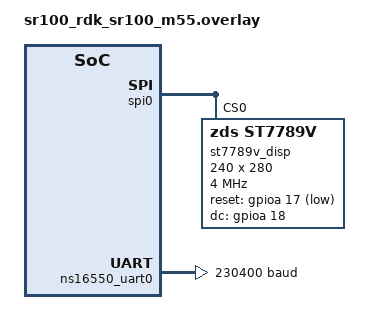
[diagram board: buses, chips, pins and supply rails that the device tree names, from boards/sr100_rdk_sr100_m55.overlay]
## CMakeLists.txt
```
# Copyright (c) 2026 Synaptics Incorporated
# SPDX-License-Identifier: Apache-2.0
#
# Lab C3: MIPI camera capture -> grayscale downscale -> ST7789V3 TFT preview.

cmake_minimum_required(VERSION 3.20.0)

# Custom "zds,st7789v" devicetree binding lives under this app's own
# dts/bindings/ - DTS_ROOT must be extended BEFORE find_package(Zephyr...)
# runs (same requirement as ai_labs/03_sensor_anomaly).
list(APPEND DTS_ROOT ${CMAKE_CURRENT_SOURCE_DIR})

find_package(Zephyr REQUIRED HINTS $ENV{ZEPHYR_BASE})
project(camera_tft_preview)

target_sources(app PRIVATE
  src/main.c
  src/tft_preview.c
)

# Pull in SR100 video HAL headers used by the video_syna_sr100_mipi driver's
# devicetree binding. ZEPHYR_BASE points at <workspace>/zephyr, so its parent
# is the workspace root regardless of where this lab folder itself lives.
target_include_directories(app PRIVATE
  $ENV{ZEPHYR_BASE}/../zephyr_srsdk/modules/hal_synaptics/video/sr100/includes
)
```

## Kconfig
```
# Copyright (c) 2026 Synaptics Incorporated
# SPDX-License-Identifier: Apache-2.0
#
# Lab C3: camera capture + TFT preview. WQVGA-only, like Lab C2 - the
# capture side is not the point of this lab, the display pipeline is.

mainmenu "Camera TFT Preview Lab (SR110)"

source "Kconfig.zephyr"

menu "Camera TFT Preview Lab"

config VIDEO_SAMPLE_FRAME_WIDTH
        int "Frame width (pixels)"
        default 480

config VIDEO_SAMPLE_FRAME_HEIGHT
        int "Frame height (pixels)"
        default 270

config VIDEO_SAMPLE_FRAME_PITCH
        int "Frame pitch (bytes/line)"
        default 480

config VIDEO_SAMPLE_BUFFER_COUNT
        int "Video buffer count"
        default 2
        range 1 8

config VIDEO_SAMPLE_CAPTURE_TIMEOUT_MS
        int "Capture timeout (ms)"
        default 2000

config TFT_PREVIEW_INTERVAL_MS
        int "Boot-time default delay between displayed preview frames (ms)"
        default 1000
        range 100 10000
        help
          The camera itself keeps streaming continuously in the
          background (video_stream_start() is called once); this is
          just how often the main loop pulls one frame out of that
          stream and pushes it to the TFT. This value is only the
          value used at boot - main.c stores it in a plain runtime
          variable that the "preview interval set <ms>" shell command
          can change afterwards without rebuilding/reflashing, so
          treat this Kconfig default as a starting point to tune from
          rather than something you need to rebuild for every test.
          1000-2000ms is a reasonable starting point: fast enough to
          feel "live", slow enough not to flood the slow SPI0 link or
          the serial console with one log line per frame.

endmenu
```

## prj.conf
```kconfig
# Camera (video_syna0 / MIPI CSI) - same as lab_c1_basic_capture / lab_c2_continuous_stats
CONFIG_LOG=y
CONFIG_LOG_DEFAULT_LEVEL=3
CONFIG_VIDEO=y
CONFIG_VIDEO_INIT_PRIORITY=90
CONFIG_VIDEO_SYNA_MIPI=y
CONFIG_VIDEO_SYNA_MIPI_INIT_PRIORITY=110
CONFIG_VIDEO_BUFFER_POOL_HEAP_SIZE=400000
CONFIG_VIDEO_BUFFER_POOL_ALIGN=64
CONFIG_I2C_SHELL=n

CONFIG_FPU=y

CONFIG_HEAP_MEM_POOL_SIZE=200000

CONFIG_CMSIS_RTOS_V2=y
CONFIG_POLL=y
CONFIG_THREAD_NAME=y
CONFIG_THREAD_STACK_INFO=y
CONFIG_THREAD_MONITOR=y
CONFIG_INIT_STACKS=y
CONFIG_NUM_PREEMPT_PRIORITIES=56

CONFIG_PRINTK=y
CONFIG_LOG_MODE_IMMEDIATE=y

# TFT (ST7789V3 raw-SPI driver, ai_labs/03_sensor_anomaly) - SPI0 + GPIO
# for reset/dc pins. Console is moved to UART0 alt pins by the board
# overlay because SPI0 shares pads with UART1 (see the lab doc).
CONFIG_SPI=y
CONFIG_GPIO=y

CONFIG_MAIN_STACK_SIZE=4096
CONFIG_UART_CONSOLE=y

# Interactive shell so the preview interval can be tuned live at
# runtime ("preview interval set <ms>") instead of rebuilding/
# reflashing for every test - see main.c and the lab doc.
#
# CONFIG_SHELL=y alone overflows the 128KB ITCM flash (this board's
# zephyr,flash) by ~9KB - the default shell pulls in history, stats,
# wildcards, metakeys and a log backend integration that this lab does
# not need. CONFIG_SHELL_MINIMAL=y strips all of that down to just the
# line editor + command dispatch, which is enough for the two "preview
# interval get/set" commands here and fits comfortably.
CONFIG_SHELL=y
CONFIG_SHELL_MINIMAL=y
CONFIG_SHELL_LOG_BACKEND=n
```

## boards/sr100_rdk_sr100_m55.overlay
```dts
/*
 * Lab C3 (Camera TFT Preview) - SR110 (sr100_rdk/sr100/m55)
 *
 * - Camera: video_syna0 (MIPI CSI) + ov02c10 on i2c1 are both
 *   "okay" by default in the board's base devicetree - no overlay
 *   entry needed here, same as Lab C1/C2.
 *
 * - Status/preview display: ST7789V3 TFT over SPI0, reusing
 *   ai_labs/03_sensor_anomaly's confirmed-working config verbatim
 *   (level-shifted signals, native HW CS, GPIO17/18 reset/dc, 4MHz).
 *   SPI0's MOSI/MISO pads are physically shared with the M55's
 *   default console UART (UART1, GPIO23/24), so the console is moved
 *   to UART0's alternate pin group here. An external USB-TTL adapter
 *   is needed to see console output (GPIO44/45, J24 pins 13/14) - see
 *   the lab doc for the full explanation, it is not repeated here.
 */

#include <zephyr/dt-bindings/gpio/gpio.h>

&spi0 {
	#address-cells = <1>;
	#size-cells = <0>;
	status = "okay";
	pinctrl-0 = <&spi_mstr_mosi &spi_mstr_miso &spi_mstr_clk &spi_mstr_cs>;
	pinctrl-names = "default";

	st7789v_disp: st7789v@0 {
		compatible = "zds,st7789v";
		reg = <0>;
		spi-max-frequency = <4000000>;
		reset-gpios = <&gpioa 17 GPIO_ACTIVE_LOW>;  /* SoC GPIO17, J24 pin 3 - through level shifter */
		dc-gpios = <&gpioa 18 GPIO_ACTIVE_HIGH>;    /* SoC GPIO18, J24 pin 4 - through level shifter */
		width = <240>;
		height = <280>;
		x-offset = <0>;
		y-offset = <20>;
	};
};

&ns16550_uart1 {
	status = "disabled";
};

&ns16550_uart0 {
	pinctrl-0 = <&uart0_tx_c &uart0_rx_c>;
	pinctrl-names = "default";
	current-speed = <230400>;
	dlf = <2>;
	status = "okay";
};

/ {
	chosen {
		zephyr,console = &ns16550_uart0;
		zephyr,shell-uart = &ns16550_uart0;
	};
};
```

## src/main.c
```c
/*
 * Copyright (c) 2026 Synaptics Incorporated
 *
 * SPDX-License-Identifier: Apache-2.0
 *
 * SR110 AI curriculum Lab C3 - Camera capture + TFT preview.
 *
 * Builds on lab_c1_basic_capture / lab_c2_continuous_stats's video_api
 * capture loop (same devicetree node, same WQVGA RAW8 format). Instead
 * of logging stats, each captured frame is downscaled to grayscale and
 * pushed to the ST7789V3 TFT (SPI0) via tft_preview_show_frame() - see
 * that file for how the downscale + grayscale conversion works.
 *
 * The camera stream is started once and left running; the main loop
 * only pulls one frame out of it every g_preview_interval_ms to
 * display, so the panel updates a few times per second at most instead
 * of at the camera's native ~30fps (SPI0 is far too slow for that
 * anyway, and a very short interval also floods the serial console
 * with one log line per frame). The interval is a plain runtime
 * variable (not a compile-time constant) so it can be changed on the
 * fly from the shell (see cmd_preview_interval_set() below) without
 * rebuilding/reflashing - handy for finding a comfortable refresh rate
 * by trial and error.
 */

#include <errno.h>
#include <stdint.h>
#include <stdlib.h>

#include <zephyr/device.h>
#include <zephyr/devicetree.h>
#include <zephyr/drivers/video.h>
#include <zephyr/kernel.h>
#include <zephyr/logging/log.h>
#include <zephyr/shell/shell.h>
#include <zephyr/sys/atomic.h>
#include <zephyr/sys/util.h>
#include <zephyr/video/video.h>

#include "tft_preview.h"

LOG_MODULE_REGISTER(camera_tft_preview, CONFIG_LOG_DEFAULT_LEVEL);

#define VIDEO_SAMPLE_FRAME_WIDTH      ((uint32_t)CONFIG_VIDEO_SAMPLE_FRAME_WIDTH)
#define VIDEO_SAMPLE_FRAME_HEIGHT     ((uint32_t)CONFIG_VIDEO_SAMPLE_FRAME_HEIGHT)
#define VIDEO_SAMPLE_FRAME_PITCH      ((uint32_t)CONFIG_VIDEO_SAMPLE_FRAME_PITCH)
#define VIDEO_SAMPLE_BUFFER_COUNT     ((uint32_t)CONFIG_VIDEO_SAMPLE_BUFFER_COUNT)
#define VIDEO_SAMPLE_CAPTURE_TIMEOUT  K_MSEC(CONFIG_VIDEO_SAMPLE_CAPTURE_TIMEOUT_MS)

#define PREVIEW_INTERVAL_MIN_MS 100
#define PREVIEW_INTERVAL_MAX_MS 10000

#define VIDEO_SAMPLE_PIXEL_FORMAT     VIDEO_PIX_FMT_SRGGB8

#define VIDEO_DEV_NODE DT_NODELABEL(video_syna0)

#if !DT_NODE_EXISTS(VIDEO_DEV_NODE)
#error "Devicetree node 'video_syna0' is required for this sample"
#endif

/* Boot default comes from Kconfig; from then on this is the only
 * source of truth, changed live by the "preview interval set <ms>"
 * shell command. atomic_t (not a plain uint32_t) because it is
 * written from the shell thread and read from the main loop thread.
 */
static atomic_t g_preview_interval_ms = ATOMIC_INIT(CONFIG_TFT_PREVIEW_INTERVAL_MS);

static int cmd_preview_interval_set(const struct shell *sh, size_t argc, char **argv)
{
	char *endptr;
	long val = strtol(argv[1], &endptr, 10);

	if (*endptr != '\0' || val < PREVIEW_INTERVAL_MIN_MS || val > PREVIEW_INTERVAL_MAX_MS) {
		shell_error(sh, "interval must be an integer between %d and %d ms",
			    PREVIEW_INTERVAL_MIN_MS, PREVIEW_INTERVAL_MAX_MS);
		return -EINVAL;
	}

	atomic_set(&g_preview_interval_ms, (atomic_val_t)val);
	shell_print(sh, "preview interval set to %ld ms (takes effect on the next frame)", val);
	return 0;
}

static int cmd_preview_interval_get(const struct shell *sh, size_t argc, char **argv)
{
	shell_print(sh, "preview interval: %ld ms", (long)atomic_get(&g_preview_interval_ms));
	return 0;
}

SHELL_STATIC_SUBCMD_SET_CREATE(sub_preview_interval,
	SHELL_CMD(get, NULL, "Show the current preview interval", cmd_preview_interval_get),
	SHELL_CMD_ARG(set, NULL, "Set the preview interval in ms: preview interval set <ms>",
		      cmd_preview_interval_set, 2, 0),
	SHELL_SUBCMD_SET_END
);

SHELL_STATIC_SUBCMD_SET_CREATE(sub_preview,
	SHELL_CMD(interval, &sub_preview_interval,
		  "Get/set how often a captured frame is pushed to the TFT", NULL),
	SHELL_SUBCMD_SET_END
);

SHELL_CMD_REGISTER(preview, &sub_preview, "Camera TFT preview controls", NULL);

static int configure_video_format(const struct device *video_dev, struct video_format *fmt)
{
	int ret;

	*fmt = (struct video_format) {
		.type = VIDEO_BUF_TYPE_OUTPUT,
		.pixelformat = VIDEO_SAMPLE_PIXEL_FORMAT,
		.width = VIDEO_SAMPLE_FRAME_WIDTH,
		.height = VIDEO_SAMPLE_FRAME_HEIGHT,
		.pitch = VIDEO_SAMPLE_FRAME_PITCH,
	};

	ret = video_set_format(video_dev, fmt);
	if (ret < 0) {
		LOG_ERR("video_set_format failed: %d", ret);
		return ret;
	}

	return 0;
}

int main(void)
{
	const struct device *video_dev = DEVICE_DT_GET(VIDEO_DEV_NODE);
	struct video_caps caps = { .type = VIDEO_BUF_TYPE_OUTPUT };
	struct video_format fmt;
	struct video_buffer *queued_buffers[VIDEO_SAMPLE_BUFFER_COUNT] = { 0 };
	struct video_buffer *captured = NULL;
	int ret;
	int final_ret = 0;
	size_t driver_owned_buffer_count = 0U;
	bool video_started = false;
	uint32_t frame_idx = 0U;

	LOG_INF("=== SR110 Camera TFT Preview (interval=%ld ms, 'preview interval set <ms>' to change) ===",
		(long)atomic_get(&g_preview_interval_ms));

	tft_preview_init();

	if (!device_is_ready(video_dev)) {
		LOG_ERR("Video device %s is not ready", video_dev->name);
		return -ENODEV;
	}

	ret = video_get_caps(video_dev, &caps);
	if (ret < 0) {
		LOG_ERR("video_get_caps failed: %d", ret);
		return ret;
	}

	if (ARRAY_SIZE(queued_buffers) < caps.min_vbuf_count) {
		LOG_ERR("Sample provides %u buffers but driver requires %u",
			(uint32_t)ARRAY_SIZE(queued_buffers), caps.min_vbuf_count);
		return -ENOMEM;
	}

	ret = configure_video_format(video_dev, &fmt);
	if (ret < 0) {
		return ret;
	}

	size_t align = MAX(caps.buf_align, 1U);

	for (size_t i = 0; i < ARRAY_SIZE(queued_buffers); i++) {
		queued_buffers[i] = video_buffer_aligned_alloc(fmt.size, align, K_NO_WAIT);
		if (queued_buffers[i] == NULL) {
			LOG_ERR("Buffer alloc failed. Increase CONFIG_VIDEO_BUFFER_POOL_HEAP_SIZE");
			final_ret = -ENOMEM;
			goto out_cleanup;
		}

		queued_buffers[i]->type = VIDEO_BUF_TYPE_OUTPUT;
		queued_buffers[i]->bytesused = 0U;

		ret = video_enqueue(video_dev, queued_buffers[i]);
		if (ret < 0) {
			LOG_ERR("video_enqueue failed: %d", ret);
			final_ret = ret;
			goto out_cleanup;
		}

		driver_owned_buffer_count++;
	}

	ret = video_stream_start(video_dev, VIDEO_BUF_TYPE_OUTPUT);
	if (ret < 0) {
		LOG_ERR("video_stream_start failed: %d", ret);
		final_ret = ret;
		goto out_cleanup;
	}
	video_started = true;

	/* Runs forever: this lab is a live preview, meant to be watched on
	 * the panel rather than read off a log, so there is no fixed frame
	 * count like lab_c2_continuous_stats. Serial output is kept to one
	 * short line per cycle on purpose - a busy console at a fast
	 * interval was making both the log and the panel hard to follow.
	 */
	while (1) {
		ret = video_dequeue(video_dev, &captured, VIDEO_SAMPLE_CAPTURE_TIMEOUT);
		if (ret < 0) {
			LOG_ERR("Capture timed out or failed (frame %u): %d",
				(uint32_t)(frame_idx + 1U), ret);
			final_ret = ret;
			goto out_stop_video;
		}
		driver_owned_buffer_count--;
		frame_idx++;

		tft_preview_show_frame(captured->buffer, VIDEO_SAMPLE_FRAME_WIDTH,
					VIDEO_SAMPLE_FRAME_HEIGHT);

		LOG_INF("Frame %u: capture -> display", frame_idx);

		captured->bytesused = 0U;
		ret = video_enqueue(video_dev, captured);
		if (ret < 0) {
			LOG_ERR("video_enqueue failed after frame %u: %d", frame_idx, ret);
			final_ret = ret;
			goto out_stop_video;
		}
		driver_owned_buffer_count++;

		k_sleep(K_MSEC(atomic_get(&g_preview_interval_ms)));
	}

out_stop_video:
	if (video_started) {
		ret = video_stream_stop(video_dev, VIDEO_BUF_TYPE_OUTPUT);
		if (ret < 0) {
			LOG_WRN("video_stream_stop failed: %d", ret);
			if (final_ret == 0) {
				final_ret = ret;
			}
		}
	}

out_cleanup:
	if (driver_owned_buffer_count > 0U) {
		ret = video_flush(video_dev, true);
		if (ret < 0) {
			LOG_WRN("video_flush(cancel=true) failed during buffer reclaim: %d", ret);
		}
	}

	for (size_t i = 0; i < ARRAY_SIZE(queued_buffers); i++) {
		if (queued_buffers[i] != NULL) {
			video_buffer_release(queued_buffers[i]);
			queued_buffers[i] = NULL;
		}
	}

	LOG_INF("Camera TFT preview sample finished (ret=%d)", final_ret);
	return final_ret;
}
```

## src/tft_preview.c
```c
/*
 * Lab C3 (Camera TFT Preview) - raw-SPI ST7789V3 driver.
 *
 * The init sequence, SPI0 8-byte FIFO chunking (st7789_send()) and
 * addr-window setup below are taken verbatim from
 * ai_labs/03_sensor_anomaly's tft_status.c - see that file for the
 * extended commentary on why a raw driver is used instead of
 * Zephyr's in-tree "sitronix,st7789v" driver, and why SPI0 writes
 * must be chunked to 8 bytes. Only tft_preview_show_frame() is new:
 * instead of drawing text, it pushes a downscaled camera frame.
 */
#include <zephyr/kernel.h>
#include <zephyr/device.h>
#include <zephyr/devicetree.h>
#include <zephyr/drivers/spi.h>
#include <zephyr/drivers/gpio.h>
#include <zephyr/sys/printk.h>
#include <zephyr/sys/util.h>
#include <stdbool.h>

#include "tft_preview.h"

#define DISP_NODE DT_NODELABEL(st7789v_disp)

#define PANEL_WIDTH   DT_PROP(DISP_NODE, width)
#define PANEL_HEIGHT  DT_PROP(DISP_NODE, height)
#define X_OFFSET      DT_PROP(DISP_NODE, x_offset)
#define Y_OFFSET      DT_PROP(DISP_NODE, y_offset)

#define ST7789_SWRESET  0x01
#define ST7789_SLPOUT   0x11
#define ST7789_COLMOD   0x3A
#define ST7789_MADCTL   0x36
#define ST7789_INVON    0x21
#define ST7789_NORON    0x13
#define ST7789_DISPON   0x29
#define ST7789_CASET    0x2A
#define ST7789_RASET    0x2B
#define ST7789_RAMWR    0x2C
#define ST7789_PORCTRL  0xB2
#define ST7789_GCTRL    0xB7
#define ST7789_VCOMS    0xBB
#define ST7789_LCMCTRL  0xC0
#define ST7789_VDVVRHEN 0xC2
#define ST7789_VRHS     0xC3
#define ST7789_VDVS     0xC4
#define ST7789_FRCTRL2  0xC6
#define ST7789_PWCTRL1  0xD0
#define ST7789_PVGAMCTRL 0xE0
#define ST7789_NVGAMCTRL 0xE1

#define COLOR_BLACK   0x0000

#define ST7789_CHUNK_BYTES 8

static const struct spi_dt_spec spi_spec =
	SPI_DT_SPEC_GET(DISP_NODE, SPI_WORD_SET(8) | SPI_TRANSFER_MSB, 0);
static const struct gpio_dt_spec reset_spec = GPIO_DT_SPEC_GET(DISP_NODE, reset_gpios);
static const struct gpio_dt_spec dc_spec = GPIO_DT_SPEC_GET(DISP_NODE, dc_gpios);

static bool tft_ready;

static int st7789_send(int dc_value, const uint8_t *data, size_t len)
{
	int ret;

	gpio_pin_set_dt(&dc_spec, dc_value);

	while (len) {
		size_t chunk = MIN(len, ST7789_CHUNK_BYTES);
		struct spi_buf buf = { .buf = (void *)data, .len = chunk };
		struct spi_buf_set set = { .buffers = &buf, .count = 1 };

		ret = spi_write_dt(&spi_spec, &set);
		if (ret) {
			return ret;
		}
		data += chunk;
		len -= chunk;
	}
	return 0;
}

static int st7789_write_cmd(uint8_t cmd)
{
	return st7789_send(0, &cmd, 1);
}

static int st7789_write_data(const uint8_t *data, size_t len)
{
	return st7789_send(1, data, len);
}

static int st7789_reset(void)
{
	int ret = gpio_pin_configure_dt(&reset_spec, GPIO_OUTPUT_INACTIVE);

	if (ret) {
		return ret;
	}
	k_sleep(K_MSEC(10));
	gpio_pin_set_dt(&reset_spec, 1);
	k_sleep(K_MSEC(10));
	gpio_pin_set_dt(&reset_spec, 0);
	k_sleep(K_MSEC(150));
	return 0;
}

struct st7789_init_cmd {
	uint8_t cmd;
	uint8_t num_args;
	uint8_t args[16];
	uint16_t delay_ms;
};

static const struct st7789_init_cmd init_seq[] = {
	{ ST7789_SWRESET,   0, {0}, 150 },
	{ ST7789_SLPOUT,    0, {0}, 255 },
	{ ST7789_COLMOD,    1, {0x55}, 10 },
	{ ST7789_PORCTRL,   5, {0x0C, 0x0C, 0x00, 0x33, 0x33}, 0 },
	{ ST7789_GCTRL,     1, {0x35}, 0 },
	{ ST7789_VCOMS,     1, {0x28}, 0 },
	{ ST7789_LCMCTRL,   1, {0x0C}, 0 },
	{ ST7789_VDVVRHEN,  2, {0x01, 0xFF}, 0 },
	{ ST7789_VRHS,      1, {0x10}, 0 },
	{ ST7789_VDVS,      1, {0x20}, 0 },
	{ ST7789_FRCTRL2,   1, {0x0F}, 0 },
	{ ST7789_PWCTRL1,   2, {0xA4, 0xA1}, 0 },
	{ ST7789_MADCTL,    1, {0x08}, 0 },  /* 0x08 = BGR order (this panel; 0x00 is RGB) - see ai_labs/03_sensor_anomaly */
	{ ST7789_INVON,     0, {0}, 10 },
	{ ST7789_PVGAMCTRL, 14, {0xD0, 0x00, 0x02, 0x07, 0x0A, 0x28, 0x32, 0x44,
				 0x42, 0x06, 0x0E, 0x12, 0x14, 0x17}, 0 },
	{ ST7789_NVGAMCTRL, 14, {0xD0, 0x00, 0x02, 0x07, 0x05, 0x25, 0x2D, 0x44,
				 0x45, 0x10, 0x0E, 0x12, 0x13, 0x17}, 0 },
	{ ST7789_NORON,     0, {0}, 10 },
	{ ST7789_DISPON,    0, {0}, 100 },
};

static int st7789_init(void)
{
	for (size_t i = 0; i < ARRAY_SIZE(init_seq); i++) {
		int ret = st7789_write_cmd(init_seq[i].cmd);

		if (ret) return ret;
		if (init_seq[i].num_args) {
			ret = st7789_write_data(init_seq[i].args, init_seq[i].num_args);
			if (ret) return ret;
		}
		if (init_seq[i].delay_ms) {
			k_sleep(K_MSEC(init_seq[i].delay_ms));
		}
	}
	return 0;
}

static int st7789_set_addr_window(uint16_t x0, uint16_t y0, uint16_t x1, uint16_t y1)
{
	uint16_t xs = x0 + X_OFFSET, xe = x1 + X_OFFSET;
	uint16_t ys = y0 + Y_OFFSET, ye = y1 + Y_OFFSET;
	uint8_t caset[4] = { xs >> 8, xs & 0xFF, xe >> 8, xe & 0xFF };
	uint8_t raset[4] = { ys >> 8, ys & 0xFF, ye >> 8, ye & 0xFF };
	int ret;

	ret = st7789_write_cmd(ST7789_CASET);
	if (ret) return ret;
	ret = st7789_write_data(caset, sizeof(caset));
	if (ret) return ret;
	ret = st7789_write_cmd(ST7789_RASET);
	if (ret) return ret;
	ret = st7789_write_data(raset, sizeof(raset));
	if (ret) return ret;
	return st7789_write_cmd(ST7789_RAMWR);
}

static int st7789_fill_rect(uint16_t x, uint16_t y, uint16_t w, uint16_t h, uint16_t color)
{
	uint8_t row[PANEL_WIDTH * 2];
	int ret;

	ret = st7789_set_addr_window(x, y, x + w - 1, y + h - 1);
	if (ret) return ret;

	for (uint16_t i = 0; i < w; i++) {
		row[i * 2] = color >> 8;
		row[i * 2 + 1] = color & 0xFF;
	}
	for (uint16_t line = 0; line < h; line++) {
		ret = st7789_write_data(row, (size_t)w * 2);
		if (ret) return ret;
	}
	return 0;
}

void tft_preview_init(void)
{
	int ret;

	if (!spi_is_ready_dt(&spi_spec) || !gpio_is_ready_dt(&reset_spec) ||
	    !gpio_is_ready_dt(&dc_spec)) {
		printk("tft_preview: SPI/GPIO not ready, display disabled\n");
		return;
	}

	ret = gpio_pin_configure_dt(&dc_spec, GPIO_OUTPUT_INACTIVE);
	if (ret) {
		printk("tft_preview: dc-gpio configure failed: %d, display disabled\n", ret);
		return;
	}

	if (st7789_reset() || st7789_init()) {
		printk("tft_preview: reset/init failed (check wiring/level shifter), display disabled\n");
		return;
	}
	st7789_fill_rect(0, 0, PANEL_WIDTH, PANEL_HEIGHT, COLOR_BLACK);
	tft_ready = true;
}

/*
 * This lab's camera frame (480x270, landscape) and the TFT panel
 * (240x280, portrait) do not share an aspect ratio, so no crop-free
 * mapping can fill the whole panel. Three things happen in one pass
 * per output pixel:
 *
 *   1. Rotate 90 degrees: the sensor's long axis (480, its width) is
 *      matched up with the panel's long axis (280, its height)
 *      instead of its short axis (240) - this keeps far more of the
 *      original field of view than displaying unrotated ever could,
 *      since a landscape sensor naturally suits a landscape framing
 *      much better than a portrait one.
 *   2. "Cover" crop + nearest-neighbor scale: after the conceptual
 *      rotation, the image (270x480) still is not exactly 240x280,
 *      so it is scaled by the single factor that makes it *at least*
 *      as big as the panel in both directions, and the extra pixels
 *      on the now-oversized axis are cropped off both edges evenly
 *      (that scale/crop math lives in compute_cover_crop() below) -
 *      the same idea a phone camera app uses for "fill" photo crops,
 *      just done with integer nearest-neighbor instead of
 *      interpolation, which is more than good enough at this size.
 *   3. Debayer-lite: same 2x2 Bayer block average as before, sampled
 *      at the block the rotate+crop math points to, giving one
 *      grayscale value per output pixel.
 *
 * If your particular panel/camera pairing needs the image mirrored or
 * rotated the other way, that only changes the algebra in
 * rotate_to_bayer_coords() below - the crop math itself does not care
 * which way the rotation goes.
 */

/* Given a source rectangle (src_w x src_h) and a destination rectangle
 * (dst_w x dst_h) with a different aspect ratio, compute the single
 * uniform scale factor and centered crop window in the SOURCE that,
 * once scaled up to fill dst_w x dst_h, leaves no blank space (the
 * "cover" behavior familiar from CSS background-size:cover or a photo
 * app's "fill" crop). Returns the crop window's origin and size, still
 * in source pixels - the caller does the actual scaling by mapping
 * each destination pixel back into this window with plain division.
 */
static void compute_cover_crop(uint32_t src_w, uint32_t src_h, uint32_t dst_w, uint32_t dst_h,
				uint32_t *crop_x0, uint32_t *crop_y0,
				uint32_t *crop_w, uint32_t *crop_h)
{
	if (src_w * dst_h > src_h * dst_w) {
		/* Source is relatively wider than the destination: use the
		 * full source height and crop its width.
		 */
		*crop_h = src_h;
		*crop_w = src_h * dst_w / dst_h;
	} else {
		/* Source is relatively taller than the destination: use the
		 * full source width and crop its height.
		 */
		*crop_w = src_w;
		*crop_h = src_w * dst_h / dst_w;
	}
	*crop_x0 = (src_w - *crop_w) / 2U;
	*crop_y0 = (src_h - *crop_h) / 2U;
}

/* Maps a pixel in the rotated+cropped view back to the top-left corner
 * of a 2x2 Bayer block in the original, unrotated sensor frame. See
 * the big comment above tft_preview_show_frame() for the geometry.
 */
static void rotate_to_bayer_coords(uint32_t rot_col, uint32_t rot_row, uint32_t src_width,
				    uint32_t src_height, uint32_t *bayer_col,
				    uint32_t *bayer_row)
{
	/* Inverse of a 90 degree clockwise rotation: original row
	 * = (src_height-1) - rotated_col, original col = rotated_row.
	 * rot_col is always within [0, src_height) and rot_row within
	 * [0, src_width) by construction (they come from a crop window
	 * sized against the rotated canvas, see tft_preview_show_frame()),
	 * so both subtractions below stay non-negative.
	 */
	uint32_t row_s = (src_height - 1U) - rot_col;
	uint32_t col_s = rot_row;

	/* Round down to an even (row, col) so the 2x2 Bayer block we read
	 * from here always starts on the same R/G/G/B grid as the sensor,
	 * then clamp so the block's second row/column stays in bounds.
	 */
	row_s &= ~1U;
	col_s &= ~1U;
	if (row_s > src_height - 2U) {
		row_s = (src_height - 2U) & ~1U;
	}
	if (col_s > src_width - 2U) {
		col_s = (src_width - 2U) & ~1U;
	}

	*bayer_col = col_s;
	*bayer_row = row_s;
}

void tft_preview_show_frame(const uint8_t *bayer, uint16_t src_width, uint16_t src_height)
{
	/* The "rotated canvas" is what the sensor frame looks like after a
	 * 90 degree turn: its width is the sensor's height and vice versa.
	 */
	uint32_t rotated_w = src_height;
	uint32_t rotated_h = src_width;
	uint32_t crop_x0, crop_y0, crop_w, crop_h;
	uint8_t row[PANEL_WIDTH * 2];

	if (!tft_ready) {
		return;
	}

	compute_cover_crop(rotated_w, rotated_h, PANEL_WIDTH, PANEL_HEIGHT,
			    &crop_x0, &crop_y0, &crop_w, &crop_h);

	if (st7789_set_addr_window(0, 0, PANEL_WIDTH - 1, PANEL_HEIGHT - 1)) {
		return;
	}

	for (uint16_t oy = 0; oy < PANEL_HEIGHT; oy++) {
		uint32_t rot_row = crop_y0 + (uint32_t)oy * crop_h / PANEL_HEIGHT;

		for (uint16_t ox = 0; ox < PANEL_WIDTH; ox++) {
			uint32_t rot_col = crop_x0 + (uint32_t)ox * crop_w / PANEL_WIDTH;
			uint32_t bx, by;

			rotate_to_bayer_coords(rot_col, rot_row, src_width, src_height, &bx, &by);

			const uint8_t *row0 = bayer + (size_t)by * src_width + bx;
			const uint8_t *row1 = row0 + src_width;
			uint16_t sum = row0[0] + row0[1] + row1[0] + row1[1];
			uint8_t gray = (uint8_t)(sum / 4U);
			/* RGB565 with R=G=B gives a neutral gray pixel. */
			uint16_t gray5 = gray >> 3;
			uint16_t gray6 = gray >> 2;
			uint16_t pixel = (gray5 << 11) | (gray6 << 5) | gray5;

			row[ox * 2U] = pixel >> 8;
			row[ox * 2U + 1U] = pixel & 0xFF;
		}

		if (st7789_write_data(row, (size_t)PANEL_WIDTH * 2U)) {
			return;
		}
	}
}
```

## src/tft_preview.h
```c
/* Lab C3 TFT preview helper, built on the raw-SPI ST7789V3 driver
 * confirmed working in ai_labs/03_sensor_anomaly. Unlike that lab's
 * tft_status.c (which only draws text), this one pushes an actual
 * downscaled grayscale camera frame to the panel.
 */
#ifndef TFT_PREVIEW_H_
#define TFT_PREVIEW_H_

#include <stddef.h>
#include <stdint.h>

/* Call once at boot. Safe to call even if the panel/level-shifter
 * isn't connected - failures are logged via printk and
 * tft_preview_show_frame() is simply left a no-op.
 */
void tft_preview_init(void);

/* Rotates a RAW8 Bayer (SRGGB8) frame 90 degrees to match the panel's
 * portrait orientation, "cover" crops it to the panel's exact aspect
 * ratio, and pushes it as a grayscale image that fills the whole
 * panel (no blank margins) - see the implementation comment in
 * tft_preview.c for the full geometry. src_width/src_height must both
 * be even (WQVGA 480x270 satisfies this). No-op if tft_preview_init()
 * didn't succeed.
 */
void tft_preview_show_frame(const uint8_t *bayer, uint16_t src_width, uint16_t src_height);

#endif /* TFT_PREVIEW_H_ */
```
